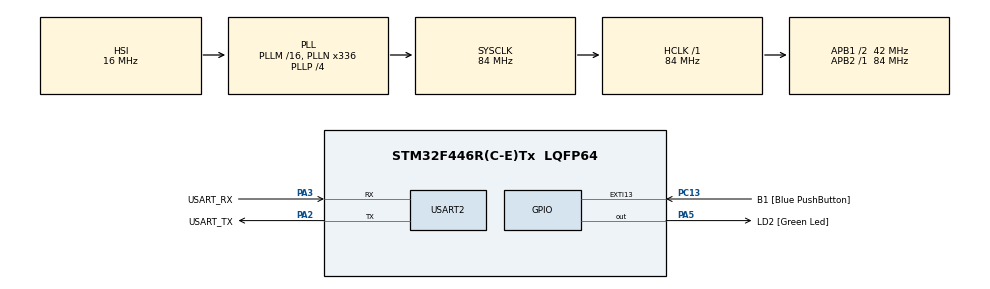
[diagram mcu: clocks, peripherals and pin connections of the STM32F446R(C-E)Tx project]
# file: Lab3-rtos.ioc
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Dma.Request0=USART2_TX
Dma.Request1=USART2_RX
Dma.USART2_RX.1.Direction=DMA_PERIPH_TO_MEMORY
Dma.USART2_RX.1.FIFOMode=DMA_FIFOMODE_DISABLE
Dma.USART2_RX.1.Instance=DMA1_Stream5
Dma.USART2_RX.1.MemDataAlignment=DMA_MDATAALIGN_BYTE
Dma.USART2_RX.1.MemInc=DMA_MINC_ENABLE
Dma.USART2_RX.1.Mode=DMA_NORMAL
Dma.USART2_RX.1.PeriphDataAlignment=DMA_PDATAALIGN_BYTE
Dma.USART2_RX.1.PeriphInc=DMA_PINC_DISABLE
Dma.USART2_RX.1.Priority=DMA_PRIORITY_LOW
Dma.USART2_TX.0.Direction=DMA_MEMORY_TO_PERIPH
Dma.USART2_TX.0.FIFOMode=DMA_FIFOMODE_ENABLE
Dma.USART2_TX.0.FIFOThreshold=DMA_FIFO_THRESHOLD_FULL
Dma.USART2_TX.0.Instance=DMA1_Stream6
Dma.USART2_TX.0.MemBurst=DMA_MBURST_SINGLE
Dma.USART2_TX.0.MemDataAlignment=DMA_MDATAALIGN_BYTE
Dma.USART2_TX.0.MemInc=DMA_MINC_ENABLE
Dma.USART2_TX.0.Mode=DMA_NORMAL
Dma.USART2_TX.0.PeriphBurst=DMA_PBURST_SINGLE
Dma.USART2_TX.0.PeriphDataAlignment=DMA_PDATAALIGN_BYTE
Dma.USART2_TX.0.PeriphInc=DMA_PINC_DISABLE
Dma.USART2_TX.0.Priority=DMA_PRIORITY_MEDIUM
FREERTOS.BinarySemaphores01=semaphor1,Dynamic,NULL
FREERTOS.Tasks01=blink01,0,128,StartBlink03,Default,NULL,Dynamic,NULL,NULL;Task1,-3,256,StartTask1,Default,NULL,Dynamic,NULL,NULL;Task2,-2,256,StartTask2,Default,NULL,Dynamic,NULL,NULL;Task3,-1,256,StartTask3,Default,NULL,Dynamic,NULL,NULL;TaskUART,0,512,StartTaskUART,Default,NULL,Dynamic,NULL,NULL
FREERTOS.Timers01=periodicTimer,PTCallback,osTimerPeriodic,Default,NULL,Dynamic,NULL
FREERTOS.configTIMER_TASK_PRIORITY=6
FREERTOS.configUSE_NEWLIB_REENTRANT=1
FREERTOS.configUSE_TIMERS=0
Mcu.Family=STM32F4
Mcu.Name=STM32F446R(C-E)Tx
Mcu.Package=LQFP64
NVIC.DMA1_Stream5_IRQn=true\:5\:0\:false\:false\:true\:true\:false\:true\:true
NVIC.DMA1_Stream6_IRQn=true\:5\:0\:false\:false\:true\:true\:false\:true\:true
NVIC.EXTI15_10_IRQn=true\:5\:0\:false\:false\:true\:true\:true\:true\:true
NVIC.PriorityGroup=NVIC_PRIORITYGROUP_4
NVIC.TIM1_UP_TIM10_IRQn=true\:15\:0\:false\:false\:true\:false\:false\:true\:true
NVIC.TimeBase=TIM1_UP_TIM10_IRQn
NVIC.TimeBaseIP=TIM1
PA13.GPIO_Label=TMS
PA13.Mode=Serial_Wire
PA13.Signal=SYS_JTMS-SWDIO
PA14.GPIO_Label=TCK
PA14.Mode=Serial_Wire
PA14.Signal=SYS_JTCK-SWCLK
PA2.GPIO_Label=USART_TX
PA2.Mode=Asynchronous
PA2.Signal=USART2_TX
PA3.GPIO_Label=USART_RX
PA3.Mode=Asynchronous
PA3.Signal=USART2_RX
PA5.GPIO_Label=LD2 [Green Led]
PA5.Signal=GPIO_Output
PB3.GPIO_Label=SWO
PB3.Signal=SYS_JTDO-SWO
PC13.GPIO_Label=B1 [Blue PushButton]
PC13.GPIO_ModeDefaultEXTI=GPIO_MODE_IT_FALLING
PC13.Signal=GPXTI13
PC14-OSC32_IN.Mode=LSE-External-Oscillator
PC14-OSC32_IN.Signal=RCC_OSC32_IN
PC15-OSC32_OUT.Mode=LSE-External-Oscillator
PC15-OSC32_OUT.Signal=RCC_OSC32_OUT
PH0-OSC_IN.Mode=HSE-External-Oscillator
PH0-OSC_IN.Signal=RCC_OSC_IN
PH1-OSC_OUT.Mode=HSE-External-Oscillator
PH1-OSC_OUT.Signal=RCC_OSC_OUT
ProjectManager.HeapSize=0x200
ProjectManager.StackSize=0x400
ProjectManager.TargetToolchain=STM32CubeIDE
RCC.48MHZClocksFreq_Value=84000000
RCC.AHBFreq_Value=84000000
RCC.APB1CLKDivider=RCC_HCLK_DIV2
RCC.APB1Freq_Value=42000000
RCC.APB1TimFreq_Value=84000000
RCC.APB2Freq_Value=84000000
RCC.APB2TimFreq_Value=84000000
RCC.CortexFreq_Value=84000000
RCC.FLatency-AdvancedSettings=FLASH_LATENCY_2
RCC.HCLKFreq_Value=84000000
RCC.HSE_VALUE=8000000
RCC.HSI_VALUE=16000000
RCC.PLLN=336
RCC.PLLP=RCC_PLLP_DIV4
RCC.SYSCLKFreq_VALUE=84000000
RCC.SYSCLKSource=RCC_SYSCLKSOURCE_PLLCLK
RCC.USBFreq_Value=168000000
RCC.VCOOutputFreq_Value=336000000
USART2.VirtualMode=VM_ASYNC
VP_FREERTOS_VS_CMSIS_V1.Mode=CMSIS_V1
VP_SYS_VS_tim1.Mode=TIM1
board=NUCLEO-F446RE

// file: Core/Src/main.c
/* USER CODE BEGIN Header */
/**
  ******************************************************************************
  * @file           : main.c
  * @brief          : Main program body
  ******************************************************************************
  * @attention
  *
  * Copyright (c) 2023 STMicroelectronics.
  * All rights reserved.
  *
  * This software is licensed under terms that can be found in the LICENSE file
  * in the root directory of this software component.
  * If no LICENSE file comes with this software, it is provided AS-IS.
  *
  ******************************************************************************
  */
/* USER CODE END Header */
#include "main.h"
#include "cmsis_os.h"

/* USER CODE BEGIN Includes */
#include <stdio.h>
#include <stdlib.h>
#include <time.h>
#include <math.h>
/* USER CODE END Includes */

/* USER CODE BEGIN PM */
struct rand_value {
  float mean;//variable for mean
  float sq_mean;//variable for square mean
};
//structure for mean and square mean of 3 tasks.
struct rand_value memory[3];

/* USER CODE END PM */

UART_HandleTypeDef huart2;
DMA_HandleTypeDef hdma_usart2_tx;
DMA_HandleTypeDef hdma_usart2_rx;

osThreadId blink01Handle;
osThreadId Task1Handle;
osThreadId Task2Handle;
osThreadId Task3Handle;
osThreadId TaskUARTHandle;
osSemaphoreId semaphor1Handle;

void SystemClock_Config(void);
static void MX_GPIO_Init(void);
static void MX_DMA_Init(void);
static void MX_USART2_UART_Init(void);
void StartBlink03(void const * argument);
void StartTask1(void const * argument);
void StartTask2(void const * argument);
void StartTask3(void const * argument);
void StartTaskUART(void const * argument);

/* USER CODE BEGIN 0 */
float random_float(const float min, const float max) //function for choosing random value of float
{
    if (max == min) return min;
    else if (min < max) return (max - min) * ((float)rand() / RAND_MAX) + min;

    // return 0 if min > max
    return 0;
}

int _write(int file, char * ptr, int len)

{   int DataIdx;

    for(DataIdx = 0; DataIdx < len; DataIdx++)

    { ITM_SendChar(*ptr++); }

     return len;

}
/* USER CODE END 0 */

int main(void)
{
  /* USER CODE BEGIN 1 */
	srand(time(NULL)); //needed for pseudo random numbers to work properly (to be random :) )
  /* USER CODE END 1 */

  /* MCU Configuration--------------------------------------------------------*/

  /* Reset of all peripherals, Initializes the Flash interface and the Systick. */
  HAL_Init();

  /* Configure the system clock */
  SystemClock_Config();

  /* Initialize all configured peripherals */
  MX_GPIO_Init();
  MX_DMA_Init();
  MX_USART2_UART_Init();

  /* Create the semaphores(s) */
  /* definition and creation of semaphor1 */
  osSemaphoreDef(semaphor1);
  semaphor1Handle = osSemaphoreCreate(osSemaphore(semaphor1), 1);

  /* Create the thread(s) */
  /* definition and creation of blink01 */
  osThreadDef(blink01, StartBlink03, osPriorityNormal, 0, 128);
  blink01Handle = osThreadCreate(osThread(blink01), NULL);

  /* definition and creation of Task1 */
  osThreadDef(Task1, StartTask1, osPriorityIdle, 0, 256);
  Task1Handle = osThreadCreate(osThread(Task1), NULL);

  /* definition and creation of Task2 */
  osThreadDef(Task2, StartTask2, osPriorityLow, 0, 256);
  Task2Handle = osThreadCreate(osThread(Task2), NULL);

  /* definition and creation of Task3 */
  osThreadDef(Task3, StartTask3, osPriorityBelowNormal, 0, 256);
  Task3Handle = osThreadCreate(osThread(Task3), NULL);

  /* definition and creation of TaskUART */
  osThreadDef(TaskUART, StartTaskUART, osPriorityNormal, 0, 512);
  TaskUARTHandle = osThreadCreate(osThread(TaskUART), NULL);

  /* Start scheduler */
  osKernelStart();

  /* We should never get here as control is now taken by the scheduler */
  /* Infinite loop */
  while (1)
  {

  }
}

void SystemClock_Config(void)
{
  RCC_OscInitTypeDef RCC_OscInitStruct = {0};
  RCC_ClkInitTypeDef RCC_ClkInitStruct = {0};

  /** Configure the main internal regulator output voltage
  */
  __HAL_RCC_PWR_CLK_ENABLE();
  __HAL_PWR_VOLTAGESCALING_CONFIG(PWR_REGULATOR_VOLTAGE_SCALE3);

  /** Initializes the RCC Oscillators according to the specified parameters
  * in the RCC_OscInitTypeDef structure.
  */
  RCC_OscInitStruct.OscillatorType = RCC_OSCILLATORTYPE_HSI;
  RCC_OscInitStruct.HSIState = RCC_HSI_ON;
  RCC_OscInitStruct.HSICalibrationValue = RCC_HSICALIBRATION_DEFAULT;
  RCC_OscInitStruct.PLL.PLLState = RCC_PLL_ON;
  RCC_OscInitStruct.PLL.PLLSource = RCC_PLLSOURCE_HSI;
  RCC_OscInitStruct.PLL.PLLM = 16;
  RCC_OscInitStruct.PLL.PLLN = 336;
  RCC_OscInitStruct.PLL.PLLP = RCC_PLLP_DIV4;
  RCC_OscInitStruct.PLL.PLLQ = 2;
  RCC_OscInitStruct.PLL.PLLR = 2;
  if (HAL_RCC_OscConfig(&RCC_OscInitStruct) != HAL_OK)
  {
    Error_Handler();
  }

  /** Initializes the CPU, AHB and APB buses clocks
  */
  RCC_ClkInitStruct.ClockType = RCC_CLOCKTYPE_HCLK|RCC_CLOCKTYPE_SYSCLK
                              |RCC_CLOCKTYPE_PCLK1|RCC_CLOCKTYPE_PCLK2;
  RCC_ClkInitStruct.SYSCLKSource = RCC_SYSCLKSOURCE_PLLCLK;
  RCC_ClkInitStruct.AHBCLKDivider = RCC_SYSCLK_DIV1;
  RCC_ClkInitStruct.APB1CLKDivider = RCC_HCLK_DIV2;
  RCC_ClkInitStruct.APB2CLKDivider = RCC_HCLK_DIV1;

  if (HAL_RCC_ClockConfig(&RCC_ClkInitStruct, FLASH_LATENCY_2) != HAL_OK)
  {
    Error_Handler();
  }
}

static void MX_USART2_UART_Init(void)
{

  huart2.Instance = USART2;
  huart2.Init.BaudRate = 115200;
  huart2.Init.WordLength = UART_WORDLENGTH_8B;
  huart2.Init.StopBits = UART_STOPBITS_1;
  huart2.Init.Parity = UART_PARITY_NONE;
  huart2.Init.Mode = UART_MODE_TX_RX;
  huart2.Init.HwFlowCtl = UART_HWCONTROL_NONE;
  huart2.Init.OverSampling = UART_OVERSAMPLING_16;
  if (HAL_UART_Init(&huart2) != HAL_OK)
  {
    Error_Handler();
  }

}

static void MX_DMA_Init(void)
{

  /* DMA controller clock enable */
  __HAL_RCC_DMA1_CLK_ENABLE();

  /* DMA interrupt init */
  /* DMA1_Stream5_IRQn interrupt configuration */
  HAL_NVIC_SetPriority(DMA1_Stream5_IRQn, 5, 0);
  HAL_NVIC_EnableIRQ(DMA1_Stream5_IRQn);
  /* DMA1_Stream6_IRQn interrupt configuration */
  HAL_NVIC_SetPriority(DMA1_Stream6_IRQn, 5, 0);
  HAL_NVIC_EnableIRQ(DMA1_Stream6_IRQn);

}

static void MX_GPIO_Init(void)
{
  GPIO_InitTypeDef GPIO_InitStruct = {0};

  /* GPIO Ports Clock Enable */
  __HAL_RCC_GPIOC_CLK_ENABLE();
  __HAL_RCC_GPIOH_CLK_ENABLE();
  __HAL_RCC_GPIOA_CLK_ENABLE();
  __HAL_RCC_GPIOB_CLK_ENABLE();

  /*Configure GPIO pin Output Level */
  HAL_GPIO_WritePin(LD2_GPIO_Port, LD2_Pin, GPIO_PIN_RESET);

  /*Configure GPIO pin : B1_Pin */
  GPIO_InitStruct.Pin = B1_Pin;
  GPIO_InitStruct.Mode = GPIO_MODE_IT_FALLING;
  GPIO_InitStruct.Pull = GPIO_NOPULL;
  HAL_GPIO_Init(B1_GPIO_Port, &GPIO_InitStruct);

  /*Configure GPIO pin : LD2_Pin */
  GPIO_InitStruct.Pin = LD2_Pin;
  GPIO_InitStruct.Mode = GPIO_MODE_OUTPUT_PP;
  GPIO_InitStruct.Pull = GPIO_NOPULL;
  GPIO_InitStruct.Speed = GPIO_SPEED_FREQ_LOW;
  HAL_GPIO_Init(LD2_GPIO_Port, &GPIO_InitStruct);

  /* EXTI interrupt init*/
  HAL_NVIC_SetPriority(EXTI15_10_IRQn, 5, 0);
  HAL_NVIC_EnableIRQ(EXTI15_10_IRQn);

}

/* USER CODE BEGIN 4 */
int __io_putchar(int ch)
{
	HAL_UART_Transmit_DMA(&huart2, ch, sizeof(char));
    //UART_PutChar(ch);
	HAL_Delay(10);
   return ch;
}
/* USER CODE END 4 */

void StartBlink03(void const * argument)
{
  /* USER CODE BEGIN 5 */
  /* Infinite loop */
  for(;;)
  {
    osDelay(1000);
  }
  /* USER CODE END 5 */
}

void StartTask1(void const * argument)
{
  /* USER CODE BEGIN StartTask1 */
  /* Infinite loop */
  for(;;)
  {
	  float sum_val=0;
	  float temp_val = 0;
	  float  sum_square=0;
	  for(int i=0; i<1000;++i)
	  {
		  temp_val = random_float(-1,+1);
		  sum_val += temp_val;
		  sum_square += (temp_val*temp_val);

	  }
	  sum_val=sum_val/1000;
	  sum_square /= 1000;
	  float  sq_mean = sqrt(sum_square);
	  osSemaphoreWait(semaphor1Handle, osWaitForever);
	  memory[0].mean = sum_val;
	  memory[0].sq_mean = sq_mean;
	  osSemaphoreRelease(semaphor1Handle);

    osDelay(100);
  }
  /* USER CODE END StartTask1 */
}

void StartTask2(void const * argument)
{
  /* USER CODE BEGIN StartTask2 */
  /* Infinite loop */
  for(;;)
  {
	  float sum_val=0;
	  float temp_val = 0;
	  float  sum_square=0;
	  for(int i=0; i<1000;++i)
	  {
		  temp_val = random_float(-1,+1);
		  sum_val += temp_val;
		  sum_square += (temp_val*temp_val);

	  }
	  sum_val=sum_val/1000;
	  sum_square /= 1000;
	  float  sq_mean = sqrt(sum_square);
	  osSemaphoreWait(semaphor1Handle, osWaitForever);
	  memory[1].mean = sum_val;
	  memory[1].sq_mean = sq_mean;
	  osSemaphoreRelease(semaphor1Handle);

    osDelay(100);
  }
  /* USER CODE END StartTask2 */
}

void StartTask3(void const * argument)
{
  /* USER CODE BEGIN StartTask3 */
  /* Infinite loop */
  for(;;)
  {
	  float sum_val=0;
	  float temp_val = 0;
	  float  sum_square=0;
	  for(int i=0; i<1000;++i)
	  {
		  temp_val = random_float(-1,+1);
		  sum_val += temp_val;
		  sum_square += (temp_val*temp_val);

	  }
	  sum_val=sum_val/1000;
	  sum_square /= 1000;
	  float  sq_mean = sqrt(sum_square);
	  osSemaphoreWait(semaphor1Handle, osWaitForever);
	  memory[2].mean = sum_val;
	  memory[2].sq_mean = sq_mean;
	  osSemaphoreRelease(semaphor1Handle);

    osDelay(100);
  }
  /* USER CODE END StartTask3 */
}

void StartTaskUART(void const * argument)
{
  /* USER CODE BEGIN StartTaskUART */
  /* Infinite loop */
  for(;;)
  {
	 HAL_UART_Abort(&huart2);
	  	  if (HAL_UART_Init(&huart2) != HAL_OK)
	  	  {
	  	    Error_Handler();
	  	  }
	  osSemaphoreWait(semaphor1Handle, osWaitForever);
	  float mean = (memory[0].mean + memory[1].mean + memory[2].mean)/3;
	  float sq_mean = sqrt((memory[0].sq_mean*memory[0].sq_mean + memory[1].sq_mean*memory[1].sq_mean+ memory[2].sq_mean*memory[2].sq_mean)/3);
	  uint8_t data[60]; // Tablica przechowujaca wysylana wiadomosc.
	 // uint8_t data2[50]; // Tablica przechowujaca wysylana wiadomosc.

	  u_int16_t size = sprintf(data, "Srednia z wartosci: %f.\n\r Srednia kwadratowa: %f. \n\r" , mean, sq_mean);
	  HAL_UART_Transmit_DMA(&huart2, data, size);
	   //size = sprintf(data2, "Srednia sq wartosci: %f.\n\r", sq_mean);
printf("Srednia z wartosci: %f.\n\r Srednia kwadratowa: %f. \n\r" , mean, sq_mean);

	   //printf("%f \n\r", memory[1].mean);
	   //printf("HEJHEJ  \n\r");
	   //fflush(stdout);
	  //memory[1].sq_mean = sq_mean;
	  osSemaphoreRelease(semaphor1Handle);

	  osDelay(1000);
  }
  /* USER CODE END StartTaskUART */
}

void HAL_TIM_PeriodElapsedCallback(TIM_HandleTypeDef *htim)
{
  if (htim->Instance == TIM1) {
    HAL_IncTick();
  }
}

void Error_Handler(void)
{
  __disable_irq();
  while (1)
  {
  }
}
